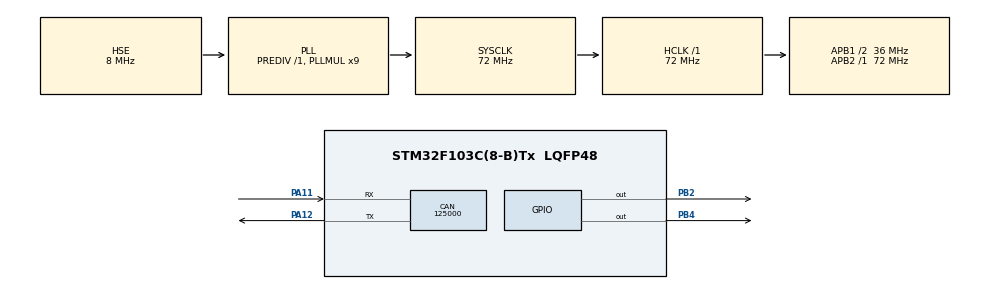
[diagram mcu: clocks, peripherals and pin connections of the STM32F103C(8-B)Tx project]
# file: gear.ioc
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CAN.BS1=CAN_BS1_15TQ
CAN.BS2=CAN_BS2_2TQ
CAN.CalculateBaudRate=125000
CAN.CalculateTimeBit=8000
CAN.CalculateTimeQuantum=444.44444444444446
Mcu.Family=STM32F1
Mcu.Name=STM32F103C(8-B)Tx
Mcu.Package=LQFP48
NVIC.CAN1_RX1_IRQn=true\:0\:0\:false\:false\:true\:true\:true\:true
NVIC.PriorityGroup=NVIC_PRIORITYGROUP_4
PA11.Mode=CAN_Activate
PA11.Signal=CAN_RX
PA12.Mode=CAN_Activate
PA12.Signal=CAN_TX
PA13.Mode=Serial_Wire
PA13.Signal=SYS_JTMS-SWDIO
PA14.Mode=Serial_Wire
PA14.Signal=SYS_JTCK-SWCLK
PB2.Signal=GPIO_Output
PB4.Signal=GPIO_Output
PD0-OSC_IN.Mode=HSE-External-Oscillator
PD0-OSC_IN.Signal=RCC_OSC_IN
PD1-OSC_OUT.Mode=HSE-External-Oscillator
PD1-OSC_OUT.Signal=RCC_OSC_OUT
ProjectManager.HeapSize=0x200
ProjectManager.StackSize=0x400
ProjectManager.TargetToolchain=STM32CubeIDE
RCC.AHBFreq_Value=72000000
RCC.APB1CLKDivider=RCC_HCLK_DIV2
RCC.APB1Freq_Value=36000000
RCC.APB1TimFreq_Value=72000000
RCC.APB2Freq_Value=72000000
RCC.APB2TimFreq_Value=72000000
RCC.HCLKFreq_Value=72000000
RCC.PLLMUL=RCC_PLL_MUL9
RCC.PLLSourceVirtual=RCC_PLLSOURCE_HSE
RCC.SYSCLKFreq_VALUE=72000000
RCC.SYSCLKSource=RCC_SYSCLKSOURCE_PLLCLK
RCC.USBFreq_Value=72000000
board=custom

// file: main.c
/* USER CODE BEGIN Header */
/**
  ******************************************************************************
  * @file           : main.c
  * @brief          : Main program body
  ******************************************************************************
  * @attention
  *
  * Copyright (c) 2026 STMicroelectronics.
  * All rights reserved.
  *
  * This software is licensed under terms that can be found in the LICENSE file
  * in the root directory of this software component.
  * If no LICENSE file comes with this software, it is provided AS-IS.
  *
  ******************************************************************************
  */
/* USER CODE END Header */
#include "main.h"
#include "can.h"
#include "gpio.h"

void SystemClock_Config(void);
static

/* USER CODE BEGIN 0 */
/* USER CODE BEGIN 0 */
CAN_RxHeaderTypeDef RxHeader;
uint8_t RxData[8];

volatile uint8_t rx_forward_gear_cmd = 0;

void HAL_CAN_RxFifo1MsgPendingCallback(CAN_HandleTypeDef *hcan)
{
    if (HAL_CAN_GetRxMessage(hcan, CAN_RX_FIFO1, &RxHeader, RxData) == HAL_OK)
    {
        if (RxHeader.StdId == 0x113 && RxHeader.DLC == 1)
        {
            rx_forward_gear_cmd = RxData[0]; // Fixed: Assigned received byte to command variable
        }
    }
}
/* USER CODE END 0 */
/* USER CODE END 0 */

int main(void)
{

  /* MCU Configuration--------------------------------------------------------*/

  /* Reset of all peripherals, Initializes the Flash interface and the Systick. */
  HAL_Init();

  /* Configure the system clock */
  SystemClock_Config();

  /* Initialize all configured peripherals */
  MX_GPIO_Init();
  MX_CAN_Init();
  /* USER CODE BEGIN 2 */
    CAN_FilterTypeDef canfilterconfig;

    canfilterconfig.FilterActivation = CAN_FILTER_ENABLE;
    canfilterconfig.FilterBank = 0;
    canfilterconfig.FilterFIFOAssignment = CAN_FILTER_FIFO1; // Must match FIFO1 callback
    canfilterconfig.FilterIdHigh = 0x0000;
    canfilterconfig.FilterIdLow = 0x0000;
    canfilterconfig.FilterMaskIdHigh = 0x0000; // 0x0000 accepts all CAN IDs
    canfilterconfig.FilterMaskIdLow = 0x0000;
    canfilterconfig.FilterMode = CAN_FILTERMODE_IDMASK;
    canfilterconfig.FilterScale = CAN_FILTERSCALE_32BIT;
    canfilterconfig.SlaveStartFilterBank = 14;

    HAL_CAN_ConfigFilter(&hcan, &canfilterconfig);
    HAL_CAN_Start(&hcan);
    HAL_CAN_ActivateNotification(&hcan, CAN_IT_RX_FIFO1_MSG_PENDING);

    /* USER CODE END 2 */

    /* Infinite loop */
    while (1)
    {

      /* USER CODE BEGIN 3 */
      static uint8_t current_cached_state = 0xFF;

      if (rx_forward_gear_cmd != current_cached_state)
      {
          current_cached_state = rx_forward_gear_cmd;

          if (current_cached_state == 1)
          {
              // Forward gear is ON (Active-LOW Relay ON = LOW, LED/Indicator = HIGH)
              HAL_GPIO_WritePin(GPIOB, GPIO_PIN_4, GPIO_PIN_RESET);
              HAL_GPIO_WritePin(GPIOB, GPIO_PIN_2, GPIO_PIN_SET);
          }
          else
          {
              // Forward gear is OFF (Active-LOW Relay Idle = HIGH)
              HAL_GPIO_WritePin(GPIOB, GPIO_PIN_4, GPIO_PIN_SET);
              HAL_GPIO_WritePin(GPIOB, GPIO_PIN_2, GPIO_PIN_RESET);
          }
      }
    }
    /* USER CODE END 3 */
}

void SystemClock_Config(void)
{
  RCC_OscInitTypeDef RCC_OscInitStruct = {0};
  RCC_ClkInitTypeDef RCC_ClkInitStruct = {0};

  /** Initializes the RCC Oscillators according to the specified parameters
  * in the RCC_OscInitTypeDef structure.
  */
  RCC_OscInitStruct.OscillatorType = RCC_OSCILLATORTYPE_HSE;
  RCC_OscInitStruct.HSEState = RCC_HSE_ON;
  RCC_OscInitStruct.HSEPredivValue = RCC_HSE_PREDIV_DIV1;
  RCC_OscInitStruct.HSIState = RCC_HSI_ON;
  RCC_OscInitStruct.PLL.PLLState = RCC_PLL_ON;
  RCC_OscInitStruct.PLL.PLLSource = RCC_PLLSOURCE_HSE;
  RCC_OscInitStruct.PLL.PLLMUL = RCC_PLL_MUL9;
  if (HAL_RCC_OscConfig(&RCC_OscInitStruct) != HAL_OK)
  {
    Error_Handler();
  }

  /** Initializes the CPU, AHB and APB buses clocks
  */
  RCC_ClkInitStruct.ClockType = RCC_CLOCKTYPE_HCLK|RCC_CLOCKTYPE_SYSCLK
                              |RCC_CLOCKTYPE_PCLK1|RCC_CLOCKTYPE_PCLK2;
  RCC_ClkInitStruct.SYSCLKSource = RCC_SYSCLKSOURCE_PLLCLK;
  RCC_ClkInitStruct.AHBCLKDivider = RCC_SYSCLK_DIV1;
  RCC_ClkInitStruct.APB1CLKDivider = RCC_HCLK_DIV2;
  RCC_ClkInitStruct.APB2CLKDivider = RCC_HCLK_DIV1;

  if (HAL_RCC_ClockConfig(&RCC_ClkInitStruct, FLASH_LATENCY_2) != HAL_OK)
  {
    Error_Handler();
  }
}

void Error_Handler(void)
{
  __disable_irq();
  while (1)
  {
  }
}
